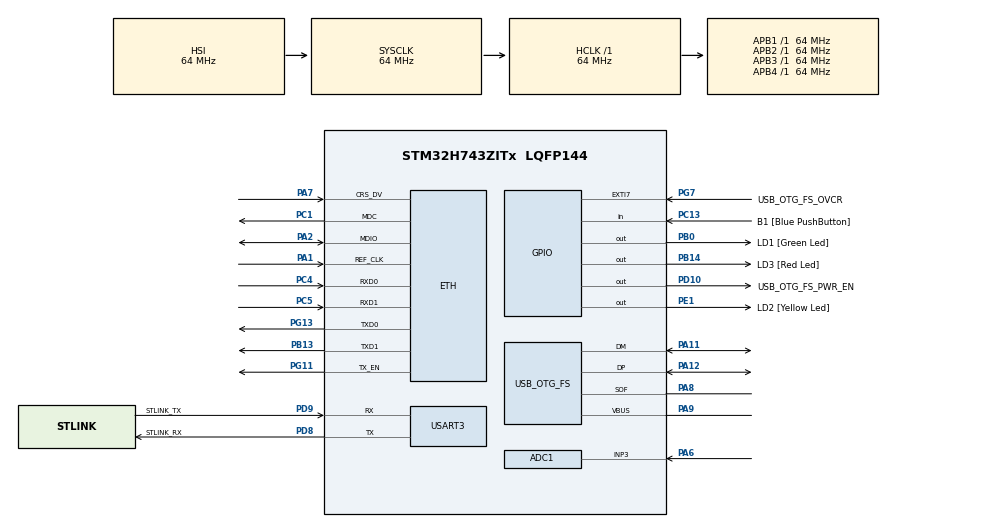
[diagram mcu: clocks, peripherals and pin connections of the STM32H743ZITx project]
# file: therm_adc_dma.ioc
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ADC1.Channel-0\#ChannelRegularConversion=ADC_CHANNEL_3
ADC1.ContinuousConvMode=ENABLE
ADC1.ConversionDataManagement=ADC_CONVERSIONDATA_DMA_CIRCULAR
ADC1.NbrOfConversionFlag=1
ADC1.OffsetNumber-0\#ChannelRegularConversion=ADC_OFFSET_NONE
ADC1.OffsetSignedSaturation-0\#ChannelRegularConversion=DISABLE
ADC1.Rank-0\#ChannelRegularConversion=1
ADC1.SamplingTime-0\#ChannelRegularConversion=ADC_SAMPLETIME_1CYCLE_5
ADC1.master=1
Dma.ADC1.0.Direction=DMA_PERIPH_TO_MEMORY
Dma.ADC1.0.EventEnable=DISABLE
Dma.ADC1.0.FIFOMode=DMA_FIFOMODE_DISABLE
Dma.ADC1.0.Instance=DMA1_Stream0
Dma.ADC1.0.MemDataAlignment=DMA_MDATAALIGN_HALFWORD
Dma.ADC1.0.MemInc=DMA_MINC_ENABLE
Dma.ADC1.0.Mode=DMA_CIRCULAR
Dma.ADC1.0.PeriphDataAlignment=DMA_PDATAALIGN_HALFWORD
Dma.ADC1.0.PeriphInc=DMA_PINC_DISABLE
Dma.ADC1.0.Polarity=HAL_DMAMUX_REQ_GEN_RISING
Dma.ADC1.0.Priority=DMA_PRIORITY_LOW
Dma.ADC1.0.RequestNumber=1
Dma.ADC1.0.SignalID=NONE
Dma.ADC1.0.SyncEnable=DISABLE
Dma.ADC1.0.SyncPolarity=HAL_DMAMUX_SYNC_NO_EVENT
Dma.ADC1.0.SyncRequestNumber=1
Dma.ADC1.0.SyncSignalID=NONE
Dma.Request0=ADC1
ETH.MediaInterface=HAL_ETH_RMII_MODE
Mcu.Family=STM32H7
Mcu.Name=STM32H743ZITx
Mcu.Package=LQFP144
NVIC.DMA1_Stream0_IRQn=true\:0\:0\:false\:false\:true\:false\:true\:true
NVIC.PriorityGroup=NVIC_PRIORITYGROUP_4
PA1.Mode=RMII
PA1.Signal=ETH_REF_CLK
PA11.Mode=Device_Only
PA11.Signal=USB_OTG_FS_DM
PA12.Mode=Device_Only
PA12.Signal=USB_OTG_FS_DP
PA2.Mode=RMII
PA2.Signal=ETH_MDIO
PA6.Signal=ADCx_INP3
PA7.Mode=RMII
PA7.Signal=ETH_CRS_DV
PA8.Mode=Activate_SOF_FS
PA8.Signal=USB_OTG_FS_SOF
PA9.Mode=Activate_VBUS
PA9.Signal=USB_OTG_FS_VBUS
PB0.GPIO_Label=LD1 [Green Led]
PB0.Signal=GPIO_Output
PB13.Mode=RMII
PB13.Signal=ETH_TXD1
PB14.GPIO_Label=LD3 [Red Led]
PB14.Signal=GPIO_Output
PC1.Mode=RMII
PC1.Signal=ETH_MDC
PC13.GPIO_Label=B1 [Blue PushButton]
PC13.Signal=GPIO_Input
PC14-OSC32_IN\ (OSC32_IN).Mode=LSE-External-Oscillator
PC14-OSC32_IN\ (OSC32_IN).Signal=RCC_OSC32_IN
PC15-OSC32_OUT\ (OSC32_OUT).Mode=LSE-External-Oscillator
PC15-OSC32_OUT\ (OSC32_OUT).Signal=RCC_OSC32_OUT
PC4.Mode=RMII
PC4.Signal=ETH_RXD0
PC5.Mode=RMII
PC5.Signal=ETH_RXD1
PD10.GPIO_Label=USB_OTG_FS_PWR_EN
PD10.Signal=GPIO_Output
PD8.GPIO_Label=STLINK_RX
PD8.Mode=Asynchronous
PD8.Signal=USART3_TX
PD9.GPIO_Label=STLINK_TX
PD9.Mode=Asynchronous
PD9.Signal=USART3_RX
PE1.GPIO_Label=LD2 [Yellow Led]
PE1.Signal=GPIO_Output
PG11.Mode=RMII
PG11.Signal=ETH_TX_EN
PG13.Mode=RMII
PG13.Signal=ETH_TXD0
PG7.GPIO_Label=USB_OTG_FS_OVCR
PG7.Signal=GPXTI7
PH0-OSC_IN\ (PH0).Mode=HSE-External-Clock-Source
PH0-OSC_IN\ (PH0).Signal=RCC_OSC_IN
PH1-OSC_OUT\ (PH1).Signal=RCC_OSC_OUT
ProjectManager.HeapSize=0x200
ProjectManager.StackSize=0x400
ProjectManager.TargetToolchain=STM32CubeIDE
RCC.ADCFreq_Value=50000000
RCC.APB1Freq_Value=64000000
RCC.APB2Freq_Value=64000000
RCC.APB3Freq_Value=64000000
RCC.APB4Freq_Value=64000000
RCC.CortexFreq_Value=64000000
RCC.DIVM1=1
RCC.DIVM2=1
RCC.DIVN1=18
RCC.DIVN2=18
RCC.DIVP2=3
RCC.DIVQ1=3
RCC.HCLKFreq_Value=64000000
RCC.HSE_VALUE=8000000
RCC.PLL2FRACN=6144
RCC.PLLFRACN=6144
RCC.PWR_Regulator_Voltage_Scale=PWR_REGULATOR_VOLTAGE_SCALE2
RCC.SYSCLKFreq_VALUE=64000000
RCC.USBFreq_Value=50000000
SH.ADCx_INP3.0=ADC1_INP3,IN3-Single-Ended
USART3.VirtualMode-Asynchronous=VM_ASYNC
USB_OTG_FS.VirtualMode=Device_Only
board=NUCLEO-H743ZI2

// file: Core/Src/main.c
 /* USER CODE BEGIN Header */
/**
  ******************************************************************************
  * @file           : main.c
  * @brief          : Main program body
  ******************************************************************************
  * @attention
  *
  * Copyright (c) 2022 STMicroelectronics.
  * All rights reserved.
  *
  * This software is licensed under terms that can be found in the LICENSE file
  * in the root directory of this software component.
  * If no LICENSE file comes with this software, it is provided AS-IS.
  *
  ******************************************************************************
  */
/* USER CODE END Header */
#include "main.h"
#include "string.h"
#include <stdio.h>
#include "arm_math.h"
#include "arm_const_structs.h"

#if defined ( __ICCARM__ ) /*!< IAR Compiler */
#pragma location=0x30000000
ETH_DMADescTypeDef  DMARxDscrTab[ETH_RX_DESC_CNT]; /* Ethernet Rx DMA Descriptors */
#pragma location=0x30000200
ETH_DMADescTypeDef  DMATxDscrTab[ETH_TX_DESC_CNT]; /* Ethernet Tx DMA Descriptors */

#elif defined ( __CC_ARM )  /* MDK ARM Compiler */

__attribute__((at(0x30000000))) ETH_DMADescTypeDef  DMARxDscrTab[ETH_RX_DESC_CNT]; /* Ethernet Rx DMA Descriptors */
__attribute__((at(0x30000200))) ETH_DMADescTypeDef  DMATxDscrTab[ETH_TX_DESC_CNT]; /* Ethernet Tx DMA Descriptors */

#elif defined ( __GNUC__ ) /* GNU Compiler */
ETH_DMADescTypeDef DMARxDscrTab[ETH_RX_DESC_CNT] __attribute__((section(".RxDecripSection"))); /* Ethernet Rx DMA Descriptors */
ETH_DMADescTypeDef DMATxDscrTab[ETH_TX_DESC_CNT] __attribute__((section(".TxDecripSection")));   /* Ethernet Tx DMA Descriptors */

#endif

ETH_TxPacketConfig TxConfig;

ADC_HandleTypeDef hadc1;
DMA_HandleTypeDef hdma_adc1;

ETH_HandleTypeDef heth;

UART_HandleTypeDef huart3;

PCD_HandleTypeDef hpcd_USB_OTG_FS;

/* USER CODE BEGIN PV */

uint16_t adc_buf [2048];
uint16_t adc_val;
float adc_val1;

// uint32_t
float32_t FFTin[2048];
float32_t fft_out[1024];

float32_t FFTOutput[1024];
uint32_t fftSize = 1024, ifftFlag = 0;
uint32_t maxIdxSecondFFT;
float32_t maxFFT, maxSecondFFT;

arm_rfft_fast_instance_f32 fft_handler;
float32_t fft_abs[1024/2];

uint8_t txbuf[1024/2];

/* USER CODE END PV */

void SystemClock_Config(void);
static void MX_GPIO_Init(void);
static void MX_DMA_Init(void);
static void MX_ADC1_Init(void);
static void MX_ETH_Init(void);
static void MX_USART3_UART_Init(void);
static void MX_USB_OTG_FS_PCD_Init(void);

/* USER CODE BEGIN 0 */

float32_t complexABS(float real, float compl) {
  return sqrtf(real*real+compl*compl);
}

//void calculate_fft()
//{
//  // calculate the fft
//  arm_rfft_fast_f32(&fft_handler, FFTin, fft_out, 0);
//
//  // mix the real and imaginary values of the fft output
//  for (size_t i = 0; i < 1024/2 ; i+=1)
//  {
//    fft_abs[i] = complexABS(fft_out[2*i], fft_out[2*i+1]);
////    fft_db[i] = (int)(20*log10f(complexABS(fft_out[2*i], fft_out[2*i+1])));
//
////    for(size_t i = 0; i <1024; ++i)
////            {
////    	sprintf((char*)txbuf,"%f\r\n", fft_abs[i]);
////    	HAL_UART_Transmit(&huart3, txbuf, strlen((char*)txbuf), HAL_MAX_DELAY);
////            }
//
//
//  }
//}

void Real_FFT()

{
// using a 1024 point signal
#define FFT_SAMPLES 1024
#define FFT_SAMPLES_HALF (FFT_SAMPLES / 2)

// see gist

static float32_t complexFFT[FFT_SAMPLES], realFFT[FFT_SAMPLES_HALF],
		imagFFT[FFT_SAMPLES_HALF], angleFFT[FFT_SAMPLES_HALF],
		powerFFT[FFT_SAMPLES_HALF];

uint32_t fftSize = FFT_SAMPLES;
uint32_t ifftFlag = 0;
arm_rfft_fast_instance_f32 S;
uint32_t maxIndex = 0;
arm_status status;
float32_t maxValue;
int i;

status = ARM_MATH_SUCCESS;
  status = arm_rfft_fast_init_f32(&S, fftSize);
  // input is real, output is interleaved real and complex
  arm_rfft_fast_f32(&S, FFTin, complexFFT, ifftFlag);

	// first entry is all real DC offset
	float32_t DCoffset = complexFFT[0];

  // de-interleave real and complex values
  for (i = 0; i < (FFT_SAMPLES / 2) - 1; i++) {
    realFFT[i] = complexFFT[i * 2];
    imagFFT[i] = complexFFT[(i * 2) + 1];
  }

  // find angle of FFT
  for (i = 0; i < FFT_SAMPLES / 2; i++) {
    angleFFT[i] = atan2f(imagFFT[i], realFFT[i]);
  }
	// compute power
	arm_cmplx_mag_squared_f32(complexFFT, powerFFT, FFT_SAMPLES_HALF);
	arm_max_f32(&powerFFT[1], FFT_SAMPLES_HALF - 1, &maxValue, &maxIndex);
	// correct index
	maxIndex += 1;

	for(int i = 0; i < 1024; i++)
		{
		  uint8_t data[4];
		  memcpy(data, &powerFFT[i], 4);
		  HAL_UART_Transmit(&huart3, data, 4, HAL_MAX_DELAY);
		}

}

void ADC_ComputeFFT()
{
	uint32_t idx;
	for(int i = 0; i < 1024; i++)
	{
		FFTin[i + 1024] = FFTin[i];
	}
	for(int i = 0; i < 1024; i++)//trochu upravit slozeni dat...{Re, Im, Re, Im....}, Im=0.0
	{
		FFTin[(2 * i)] = FFTin[i + 1024];
		FFTin[(2 * i) + 1] = 0.0;
	}
	arm_cfft_f32(&arm_cfft_sR_f32_len1024, FFTin, ifftFlag, 1);
	arm_cmplx_mag_f32(FFTin, FFTOutput, fftSize);
	arm_max_f32(FFTOutput, 512, &maxFFT, &idx);
	arm_max_f32(&FFTOutput[idx], 512-idx, &maxSecondFFT, &idx);
	maxSecondFFT = 100*maxFFT/maxSecondFFT;
	maxIdxSecondFFT = idx;
	//SSD1306Bargraph(128, maxFFT*4, FFTOutput, 0, 0, 127);

	for(int i = 0; i < 1024; i++)
	{
	  uint8_t data[4];
	  memcpy(data, &FFTOutput[i], 4);
	  HAL_UART_Transmit(&huart3, data, 4, HAL_MAX_DELAY);
	}
}

//void RN4871_TxFloat(float32_t flo)
//{
//  uint8_t data[4];
//  memcpy(data, &flo, 4);
//  for(uint8_t i = 0; i < 4; i++)
//  {
//    RN4871_Tx(data[i]);
//  }
//}

void HAL_ADC_ConvCpltCallback(ADC_HandleTypeDef* hadc)
{
   adc_val = (uint16_t)*adc_buf;
   adc_val1=(float)adc_val* (3.3/65534);

   float32_t adc_to_voltage = 3.3 / 65535;

   for (size_t i = 0; i < 1024 ; i++)
       {
         FFTin[i] = (float32_t)(adc_buf[i]) * adc_to_voltage;
       }
//  calculate_fft();
   	   ADC_ComputeFFT();
 // Real_FFT();

}

/* USER CODE END 0 */

int main(void)
{

  /* MCU Configuration--------------------------------------------------------*/

  /* Reset of all peripherals, Initializes the Flash interface and the Systick. */
  HAL_Init();

  /* Configure the system clock */
  SystemClock_Config();

  /* Initialize all configured peripherals */
  MX_GPIO_Init();
  MX_DMA_Init();
  MX_ADC1_Init();
  MX_ETH_Init();
  MX_USART3_UART_Init();
  MX_USB_OTG_FS_PCD_Init();
  /* USER CODE BEGIN 2 */

  HAL_ADC_Start_DMA(&hadc1, (uint32_t*)adc_buf,2048);

//

  /* USER CODE END 2 */

  /* Infinite loop */
  while (1)
  {

  }
}

void SystemClock_Config(void)
{
  RCC_OscInitTypeDef RCC_OscInitStruct = {0};
  RCC_ClkInitTypeDef RCC_ClkInitStruct = {0};

  /** Supply configuration update enable
  */
  HAL_PWREx_ConfigSupply(PWR_LDO_SUPPLY);

  /** Configure the main internal regulator output voltage
  */
  __HAL_PWR_VOLTAGESCALING_CONFIG(PWR_REGULATOR_VOLTAGE_SCALE2);

  while(!__HAL_PWR_GET_FLAG(PWR_FLAG_VOSRDY)) {}

  /** Macro to configure the PLL clock source
  */
  __HAL_RCC_PLL_PLLSOURCE_CONFIG(RCC_PLLSOURCE_HSE);

  /** Initializes the RCC Oscillators according to the specified parameters
  * in the RCC_OscInitTypeDef structure.
  */
  RCC_OscInitStruct.OscillatorType = RCC_OSCILLATORTYPE_HSI|RCC_OSCILLATORTYPE_HSE;
  RCC_OscInitStruct.HSEState = RCC_HSE_BYPASS;
  RCC_OscInitStruct.HSIState = RCC_HSI_DIV1;
  RCC_OscInitStruct.HSICalibrationValue = RCC_HSICALIBRATION_DEFAULT;
  RCC_OscInitStruct.PLL.PLLState = RCC_PLL_ON;
  RCC_OscInitStruct.PLL.PLLSource = RCC_PLLSOURCE_HSE;
  RCC_OscInitStruct.PLL.PLLM = 1;
  RCC_OscInitStruct.PLL.PLLN = 18;
  RCC_OscInitStruct.PLL.PLLP = 2;
  RCC_OscInitStruct.PLL.PLLQ = 3;
  RCC_OscInitStruct.PLL.PLLR = 2;
  RCC_OscInitStruct.PLL.PLLRGE = RCC_PLL1VCIRANGE_3;
  RCC_OscInitStruct.PLL.PLLVCOSEL = RCC_PLL1VCOMEDIUM;
  RCC_OscInitStruct.PLL.PLLFRACN = 6144;
  if (HAL_RCC_OscConfig(&RCC_OscInitStruct) != HAL_OK)
  {
    Error_Handler();
  }

  /** Initializes the CPU, AHB and APB buses clocks
  */
  RCC_ClkInitStruct.ClockType = RCC_CLOCKTYPE_HCLK|RCC_CLOCKTYPE_SYSCLK
                              |RCC_CLOCKTYPE_PCLK1|RCC_CLOCKTYPE_PCLK2
                              |RCC_CLOCKTYPE_D3PCLK1|RCC_CLOCKTYPE_D1PCLK1;
  RCC_ClkInitStruct.SYSCLKSource = RCC_SYSCLKSOURCE_HSI;
  RCC_ClkInitStruct.SYSCLKDivider = RCC_SYSCLK_DIV1;
  RCC_ClkInitStruct.AHBCLKDivider = RCC_HCLK_DIV1;
  RCC_ClkInitStruct.APB3CLKDivider = RCC_APB3_DIV1;
  RCC_ClkInitStruct.APB1CLKDivider = RCC_APB1_DIV1;
  RCC_ClkInitStruct.APB2CLKDivider = RCC_APB2_DIV1;
  RCC_ClkInitStruct.APB4CLKDivider = RCC_APB4_DIV1;

  if (HAL_RCC_ClockConfig(&RCC_ClkInitStruct, FLASH_LATENCY_1) != HAL_OK)
  {
    Error_Handler();
  }
}

static void MX_ADC1_Init(void)
{

  ADC_MultiModeTypeDef multimode = {0};
  ADC_ChannelConfTypeDef sConfig = {0};

  /** Common config
  */
  hadc1.Instance = ADC1;
  hadc1.Init.ClockPrescaler = ADC_CLOCK_ASYNC_DIV4;
  hadc1.Init.Resolution = ADC_RESOLUTION_16B;
  hadc1.Init.ScanConvMode = ADC_SCAN_DISABLE;
  hadc1.Init.EOCSelection = ADC_EOC_SINGLE_CONV;
  hadc1.Init.LowPowerAutoWait = DISABLE;
  hadc1.Init.ContinuousConvMode = ENABLE;
  hadc1.Init.NbrOfConversion = 1;
  hadc1.Init.DiscontinuousConvMode = DISABLE;
  hadc1.Init.ExternalTrigConv = ADC_SOFTWARE_START;
  hadc1.Init.ExternalTrigConvEdge = ADC_EXTERNALTRIGCONVEDGE_NONE;
  hadc1.Init.ConversionDataManagement = ADC_CONVERSIONDATA_DMA_CIRCULAR;
  hadc1.Init.Overrun = ADC_OVR_DATA_PRESERVED;
  hadc1.Init.LeftBitShift = ADC_LEFTBITSHIFT_NONE;
  hadc1.Init.OversamplingMode = DISABLE;
  if (HAL_ADC_Init(&hadc1) != HAL_OK)
  {
    Error_Handler();
  }

  /** Configure the ADC multi-mode
  */
  multimode.Mode = ADC_MODE_INDEPENDENT;
  if (HAL_ADCEx_MultiModeConfigChannel(&hadc1, &multimode) != HAL_OK)
  {
    Error_Handler();
  }

  /** Configure Regular Channel
  */
  sConfig.Channel = ADC_CHANNEL_3;
  sConfig.Rank = ADC_REGULAR_RANK_1;
  sConfig.SamplingTime = ADC_SAMPLETIME_1CYCLE_5;
  sConfig.SingleDiff = ADC_SINGLE_ENDED;
  sConfig.OffsetNumber = ADC_OFFSET_NONE;
  sConfig.Offset = 0;
  sConfig.OffsetSignedSaturation = DISABLE;
  if (HAL_ADC_ConfigChannel(&hadc1, &sConfig) != HAL_OK)
  {
    Error_Handler();
  }

}

static void MX_ETH_Init(void)
{

   static uint8_t MACAddr[6];

  heth.Instance = ETH;
  MACAddr[0] = 0x00;
  MACAddr[1] = 0x80;
  MACAddr[2] = 0xE1;
  MACAddr[3] = 0x00;
  MACAddr[4] = 0x00;
  MACAddr[5] = 0x00;
  heth.Init.MACAddr = &MACAddr[0];
  heth.Init.MediaInterface = HAL_ETH_RMII_MODE;
  heth.Init.TxDesc = DMATxDscrTab;
  heth.Init.RxDesc = DMARxDscrTab;
  heth.Init.RxBuffLen = 1524;

  if (HAL_ETH_Init(&heth) != HAL_OK)
  {
    Error_Handler();
  }

  memset(&TxConfig, 0 , sizeof(ETH_TxPacketConfig));
  TxConfig.Attributes = ETH_TX_PACKETS_FEATURES_CSUM | ETH_TX_PACKETS_FEATURES_CRCPAD;
  TxConfig.ChecksumCtrl = ETH_CHECKSUM_IPHDR_PAYLOAD_INSERT_PHDR_CALC;
  TxConfig.CRCPadCtrl = ETH_CRC_PAD_INSERT;

}

static void MX_USART3_UART_Init(void)
{

  huart3.Instance = USART3;
  huart3.Init.BaudRate = 115200;
  huart3.Init.WordLength = UART_WORDLENGTH_8B;
  huart3.Init.StopBits = UART_STOPBITS_1;
  huart3.Init.Parity = UART_PARITY_NONE;
  huart3.Init.Mode = UART_MODE_TX_RX;
  huart3.Init.HwFlowCtl = UART_HWCONTROL_NONE;
  huart3.Init.OverSampling = UART_OVERSAMPLING_16;
  huart3.Init.OneBitSampling = UART_ONE_BIT_SAMPLE_DISABLE;
  huart3.Init.ClockPrescaler = UART_PRESCALER_DIV1;
  huart3.AdvancedInit.AdvFeatureInit = UART_ADVFEATURE_NO_INIT;
  if (HAL_UART_Init(&huart3) != HAL_OK)
  {
    Error_Handler();
  }
  if (HAL_UARTEx_SetTxFifoThreshold(&huart3, UART_TXFIFO_THRESHOLD_1_8) != HAL_OK)
  {
    Error_Handler();
  }
  if (HAL_UARTEx_SetRxFifoThreshold(&huart3, UART_RXFIFO_THRESHOLD_1_8) != HAL_OK)
  {
    Error_Handler();
  }
  if (HAL_UARTEx_DisableFifoMode(&huart3) != HAL_OK)
  {
    Error_Handler();
  }

}

static void MX_USB_OTG_FS_PCD_Init(void)
{

  hpcd_USB_OTG_FS.Instance = USB_OTG_FS;
  hpcd_USB_OTG_FS.Init.dev_endpoints = 9;
  hpcd_USB_OTG_FS.Init.speed = PCD_SPEED_FULL;
  hpcd_USB_OTG_FS.Init.dma_enable = DISABLE;
  hpcd_USB_OTG_FS.Init.phy_itface = PCD_PHY_EMBEDDED;
  hpcd_USB_OTG_FS.Init.Sof_enable = ENABLE;
  hpcd_USB_OTG_FS.Init.low_power_enable = DISABLE;
  hpcd_USB_OTG_FS.Init.lpm_enable = DISABLE;
  hpcd_USB_OTG_FS.Init.battery_charging_enable = ENABLE;
  hpcd_USB_OTG_FS.Init.vbus_sensing_enable = ENABLE;
  hpcd_USB_OTG_FS.Init.use_dedicated_ep1 = DISABLE;
  if (HAL_PCD_Init(&hpcd_USB_OTG_FS) != HAL_OK)
  {
    Error_Handler();
  }

}

static void MX_DMA_Init(void)
{

  /* DMA controller clock enable */
  __HAL_RCC_DMA1_CLK_ENABLE();

  /* DMA interrupt init */
  /* DMA1_Stream0_IRQn interrupt configuration */
  HAL_NVIC_SetPriority(DMA1_Stream0_IRQn, 0, 0);
  HAL_NVIC_EnableIRQ(DMA1_Stream0_IRQn);

}

static void MX_GPIO_Init(void)
{
  GPIO_InitTypeDef GPIO_InitStruct = {0};

  /* GPIO Ports Clock Enable */
  __HAL_RCC_GPIOC_CLK_ENABLE();
  __HAL_RCC_GPIOH_CLK_ENABLE();
  __HAL_RCC_GPIOA_CLK_ENABLE();
  __HAL_RCC_GPIOB_CLK_ENABLE();
  __HAL_RCC_GPIOD_CLK_ENABLE();
  __HAL_RCC_GPIOG_CLK_ENABLE();
  __HAL_RCC_GPIOE_CLK_ENABLE();

  /*Configure GPIO pin Output Level */
  HAL_GPIO_WritePin(GPIOB, LD1_Pin|LD3_Pin, GPIO_PIN_RESET);

  /*Configure GPIO pin Output Level */
  HAL_GPIO_WritePin(USB_OTG_FS_PWR_EN_GPIO_Port, USB_OTG_FS_PWR_EN_Pin, GPIO_PIN_RESET);

  /*Configure GPIO pin Output Level */
  HAL_GPIO_WritePin(LD2_GPIO_Port, LD2_Pin, GPIO_PIN_RESET);

  /*Configure GPIO pin : B1_Pin */
  GPIO_InitStruct.Pin = B1_Pin;
  GPIO_InitStruct.Mode = GPIO_MODE_INPUT;
  GPIO_InitStruct.Pull = GPIO_NOPULL;
  HAL_GPIO_Init(B1_GPIO_Port, &GPIO_InitStruct);

  /*Configure GPIO pins : LD1_Pin LD3_Pin */
  GPIO_InitStruct.Pin = LD1_Pin|LD3_Pin;
  GPIO_InitStruct.Mode = GPIO_MODE_OUTPUT_PP;
  GPIO_InitStruct.Pull = GPIO_NOPULL;
  GPIO_InitStruct.Speed = GPIO_SPEED_FREQ_LOW;
  HAL_GPIO_Init(GPIOB, &GPIO_InitStruct);

  /*Configure GPIO pin : USB_OTG_FS_PWR_EN_Pin */
  GPIO_InitStruct.Pin = USB_OTG_FS_PWR_EN_Pin;
  GPIO_InitStruct.Mode = GPIO_MODE_OUTPUT_PP;
  GPIO_InitStruct.Pull = GPIO_NOPULL;
  GPIO_InitStruct.Speed = GPIO_SPEED_FREQ_LOW;
  HAL_GPIO_Init(USB_OTG_FS_PWR_EN_GPIO_Port, &GPIO_InitStruct);

  /*Configure GPIO pin : USB_OTG_FS_OVCR_Pin */
  GPIO_InitStruct.Pin = USB_OTG_FS_OVCR_Pin;
  GPIO_InitStruct.Mode = GPIO_MODE_IT_RISING;
  GPIO_InitStruct.Pull = GPIO_NOPULL;
  HAL_GPIO_Init(USB_OTG_FS_OVCR_GPIO_Port, &GPIO_InitStruct);

  /*Configure GPIO pin : LD2_Pin */
  GPIO_InitStruct.Pin = LD2_Pin;
  GPIO_InitStruct.Mode = GPIO_MODE_OUTPUT_PP;
  GPIO_InitStruct.Pull = GPIO_NOPULL;
  GPIO_InitStruct.Speed = GPIO_SPEED_FREQ_LOW;
  HAL_GPIO_Init(LD2_GPIO_Port, &GPIO_InitStruct);

}

/* USER CODE BEGIN 4 */

// Called when first half of buffer is filled
//void HAL_ADC_ConvHalfCpltCallback(ADC_HandleTypeDef* hadc) {
//  HAL_GPIO_WritePin(LD2_GPIO_Port, LD2_Pin, GPIO_PIN_SET);
//}

// Called when buffer is completely filled
//void HAL_ADC_ConvCpltCallback(ADC_HandleTypeDef* hadc) {
//  HAL_GPIO_WritePin(LD2_GPIO_Port, LD2_Pin, GPIO_PIN_RESET);
//}

/* USER CODE END 4 */

void Error_Handler(void)
{
  __disable_irq();
  while (1)
  {
  }
}
